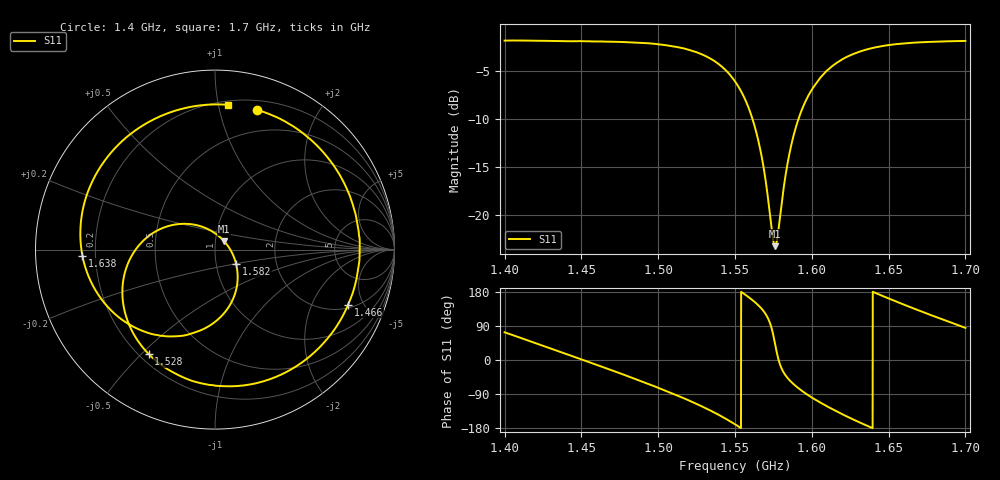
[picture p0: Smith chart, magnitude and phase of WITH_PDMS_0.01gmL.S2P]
!Keysight Technologies,E5063A,MY54503975,A.05.08
!Date: Thu Mar 06 05:52:02 2025
!Data & Calibration Information:
!Freq	S11:NONE(--)	S21:RESPT(ON)	S12:NONE(--)	S22:NONE(--)
# Hz S RI R 50
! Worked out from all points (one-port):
!   3001 points, 1.4 GHz to 1.7 GHz, reference 50 ohm
!   lowest |S11| = -23.2 dB at 1.576 GHz (marker M1), VSWR 1.15, Z = 55.1 + j5.13 ohm
!   |S11| at or under -10 dB: 1.561 GHz to 1.591 GHz (29.8 MHz wide, 1.89 % of centre)
!   S11 on the Smith chart (normalised r, x): 1.4 GHz: 0.29, +1.31; 1.466 GHz: 2.22, -3.82; 1.528 GHz: 0.24, -0.52; 1.582 GHz: 1.25, -0.21; 1.638 GHz: 0.15, -0.02; 1.7 GHz: 0.23, +1.07
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1.4e9  0.2364 0.7777  -0 -0  0 0  0 0
1.4273e9  0.6696 0.4563  0 -0  0 0  0 0
1.45e9  0.8067 0.0225  -0 0  0 0  0 0
1.4665e9  0.7423 -0.3059  -0 0  0 0  0 0
1.485e9  0.5116 -0.6083  0 -0  0 0  0 0
1.5e9  0.2238 -0.7458  0 -0  0 0  0 0
1.5148e9  -0.101 -0.7392  0 0  0 0  0 0
1.5285e9  -0.3703 -0.5809  0 0  0 0  0 0
1.5401e9  -0.5047 -0.3374  0 -0  0 0  0 0
1.55e9  -0.4901 -0.0904  0 -0  0 0  0 0
1.5643e9  -0.2216 0.1398  0 0  0 0  0 0
1.5761e9  0.0512 0.0463  0 0  0 0  0 0
1.5819e9  0.1179 -0.0806  0 0  0 0  0 0
1.5895e9  0.1045 -0.2653  0 0  0 0  0 0
1.6e9  -0.0708 -0.4456  0 -0  0 0  0 0
1.6162e9  -0.4452 -0.4347  0 -0  0 0  0 0
1.6274e9  -0.6427 -0.2625  -0 0  0 0  0 0
1.6382e9  -0.7388 -0.0337  -0 0  0 0  0 0
1.65e9  -0.7345 0.2328  -0 -0  0 0  0 0
1.6622e9  -0.6258 0.4798  -0 -0  0 0  0 0
1.6761e9  -0.4091 0.6874  -0 -0  0 0  0 0
1.7e9  0.0733 0.8066  -0 -0  0 0  0 0
